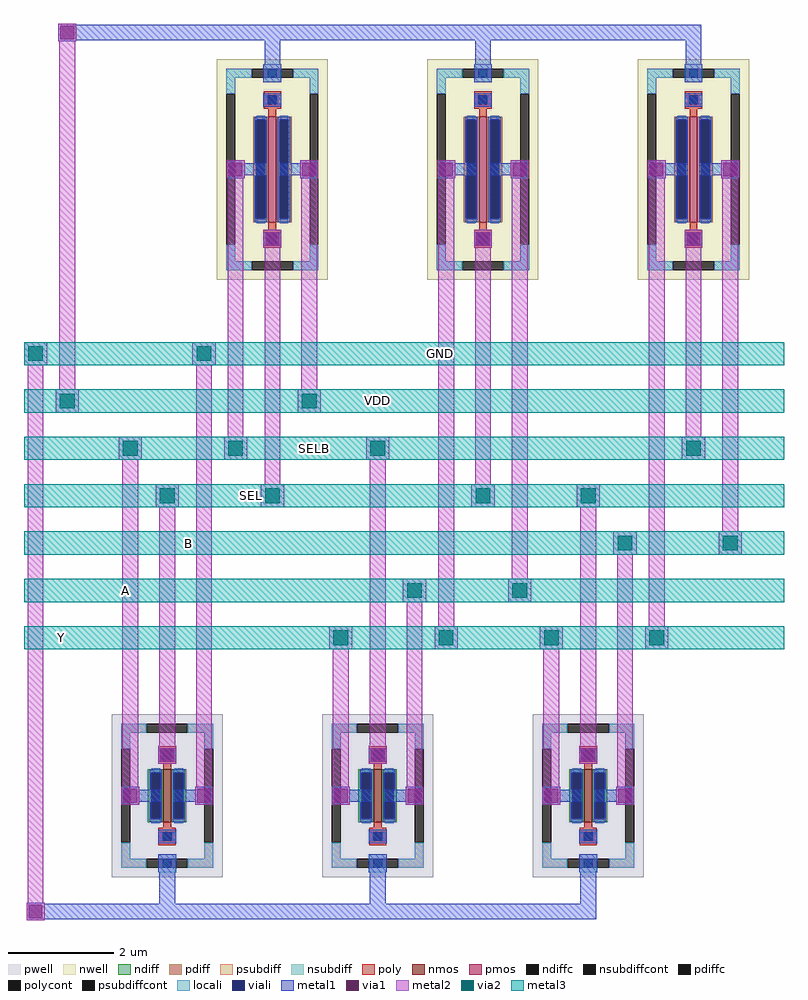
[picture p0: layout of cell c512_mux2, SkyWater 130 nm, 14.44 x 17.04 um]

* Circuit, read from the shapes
.subckt c512_mux2 Y A B SEL SELB VDD GND
XM1 GND SEL SELB GND sky130_fd_pr__nfet_01v8 w=1 l=0.15
XM2 A SELB Y GND sky130_fd_pr__nfet_01v8 w=1 l=0.15
XM3 B SEL Y GND sky130_fd_pr__nfet_01v8 w=1 l=0.15
XM4 VDD SEL SELB VDD sky130_fd_pr__pfet_01v8 w=2 l=0.15
XM5 A SEL Y VDD sky130_fd_pr__pfet_01v8 w=2 l=0.15
XM6 B SELB Y VDD sky130_fd_pr__pfet_01v8 w=2 l=0.15
.ends

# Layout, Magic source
magic
tech sky130A
magscale 1 2
<< pwell >>
rect 389 -310 811 310
rect 1189 -310 1611 310
rect 1989 -310 2411 310
<< nmos >>
rect 585 -100 615 100
rect 1385 -100 1415 100
rect 2185 -100 2215 100
<< ndiff >>
rect 527 88 585 100
rect 527 -88 539 88
rect 573 -88 585 88
rect 527 -100 585 -88
rect 615 88 673 100
rect 615 -88 627 88
rect 661 -88 673 88
rect 615 -100 673 -88
rect 1327 88 1385 100
rect 1327 -88 1339 88
rect 1373 -88 1385 88
rect 1327 -100 1385 -88
rect 1415 88 1473 100
rect 1415 -88 1427 88
rect 1461 -88 1473 88
rect 1415 -100 1473 -88
rect 2127 88 2185 100
rect 2127 -88 2139 88
rect 2173 -88 2185 88
rect 2127 -100 2185 -88
rect 2215 88 2273 100
rect 2215 -88 2227 88
rect 2261 -88 2273 88
rect 2215 -100 2273 -88
<< ndiffc >>
rect 539 -88 573 88
rect 627 -88 661 88
rect 1339 -88 1373 88
rect 1427 -88 1461 88
rect 2139 -88 2173 88
rect 2227 -88 2261 88
<< psubdiff >>
rect 425 240 521 274
rect 679 240 775 274
rect 425 178 459 240
rect 741 178 775 240
rect 425 -240 459 -178
rect 741 -240 775 -178
rect 425 -274 521 -240
rect 679 -274 775 -240
rect 1225 240 1321 274
rect 1479 240 1575 274
rect 1225 178 1259 240
rect 1541 178 1575 240
rect 1225 -240 1259 -178
rect 1541 -240 1575 -178
rect 1225 -274 1321 -240
rect 1479 -274 1575 -240
rect 2025 240 2121 274
rect 2279 240 2375 274
rect 2025 178 2059 240
rect 2341 178 2375 240
rect 2025 -240 2059 -178
rect 2341 -240 2375 -178
rect 2025 -274 2121 -240
rect 2279 -274 2375 -240
<< psubdiffcont >>
rect 521 240 679 274
rect 425 -178 459 178
rect 741 -178 775 178
rect 521 -274 679 -240
rect 1321 240 1479 274
rect 1225 -178 1259 178
rect 1541 -178 1575 178
rect 1321 -274 1479 -240
rect 2121 240 2279 274
rect 2025 -178 2059 178
rect 2341 -178 2375 178
rect 2121 -274 2279 -240
<< poly >>
rect 567 172 633 188
rect 567 138 583 172
rect 617 138 633 172
rect 567 122 633 138
rect 585 100 615 122
rect 585 -122 615 -100
rect 567 -138 633 -122
rect 567 -172 583 -138
rect 617 -172 633 -138
rect 567 -188 633 -172
rect 967 2661 1033 2677
rect 967 2627 983 2661
rect 1017 2627 1033 2661
rect 967 2611 1033 2627
rect 985 2580 1015 2611
rect 985 2149 1015 2180
rect 967 2133 1033 2149
rect 967 2099 983 2133
rect 1017 2099 1033 2133
rect 967 2083 1033 2099
rect 1367 172 1433 188
rect 1367 138 1383 172
rect 1417 138 1433 172
rect 1367 122 1433 138
rect 1385 100 1415 122
rect 1385 -122 1415 -100
rect 1367 -138 1433 -122
rect 1367 -172 1383 -138
rect 1417 -172 1433 -138
rect 1367 -188 1433 -172
rect 1767 2661 1833 2677
rect 1767 2627 1783 2661
rect 1817 2627 1833 2661
rect 1767 2611 1833 2627
rect 1785 2580 1815 2611
rect 1785 2149 1815 2180
rect 1767 2133 1833 2149
rect 1767 2099 1783 2133
rect 1817 2099 1833 2133
rect 1767 2083 1833 2099
rect 2167 172 2233 188
rect 2167 138 2183 172
rect 2217 138 2233 172
rect 2167 122 2233 138
rect 2185 100 2215 122
rect 2185 -122 2215 -100
rect 2167 -138 2233 -122
rect 2167 -172 2183 -138
rect 2217 -172 2233 -138
rect 2167 -188 2233 -172
rect 2567 2661 2633 2677
rect 2567 2627 2583 2661
rect 2617 2627 2633 2661
rect 2567 2611 2633 2627
rect 2585 2580 2615 2611
rect 2585 2149 2615 2180
rect 2567 2133 2633 2149
rect 2567 2099 2583 2133
rect 2617 2099 2633 2133
rect 2567 2083 2633 2099
<< polycont >>
rect 583 138 617 172
rect 583 -172 617 -138
rect 983 2627 1017 2661
rect 983 2099 1017 2133
rect 1383 138 1417 172
rect 1383 -172 1417 -138
rect 1783 2627 1817 2661
rect 1783 2099 1817 2133
rect 2183 138 2217 172
rect 2183 -172 2217 -138
rect 2583 2627 2617 2661
rect 2583 2099 2617 2133
<< locali >>
rect 425 240 521 274
rect 679 240 775 274
rect 425 178 459 240
rect 741 178 775 240
rect 567 138 583 172
rect 617 138 633 172
rect 539 88 573 104
rect 539 -104 573 -88
rect 627 88 661 104
rect 627 -104 661 -88
rect 567 -172 583 -138
rect 617 -172 633 -138
rect 425 -240 459 -178
rect 741 -240 775 -178
rect 425 -274 521 -240
rect 679 -274 775 -240
rect 566 -291 634 -223
rect 825 2729 921 2763
rect 1079 2729 1175 2763
rect 825 2667 859 2729
rect 1141 2667 1175 2729
rect 967 2627 983 2661
rect 1017 2627 1033 2661
rect 939 2568 973 2584
rect 939 2176 973 2192
rect 1027 2568 1061 2584
rect 1027 2176 1061 2192
rect 967 2099 983 2133
rect 1017 2099 1033 2133
rect 825 2031 859 2093
rect 1141 2031 1175 2093
rect 825 1997 921 2031
rect 1079 1997 1175 2031
rect 966 2712 1034 2780
rect 1225 240 1321 274
rect 1479 240 1575 274
rect 1225 178 1259 240
rect 1541 178 1575 240
rect 1367 138 1383 172
rect 1417 138 1433 172
rect 1339 88 1373 104
rect 1339 -104 1373 -88
rect 1427 88 1461 104
rect 1427 -104 1461 -88
rect 1367 -172 1383 -138
rect 1417 -172 1433 -138
rect 1225 -240 1259 -178
rect 1541 -240 1575 -178
rect 1225 -274 1321 -240
rect 1479 -274 1575 -240
rect 1366 -291 1434 -223
rect 1625 2729 1721 2763
rect 1879 2729 1975 2763
rect 1625 2667 1659 2729
rect 1941 2667 1975 2729
rect 1767 2627 1783 2661
rect 1817 2627 1833 2661
rect 1739 2568 1773 2584
rect 1739 2176 1773 2192
rect 1827 2568 1861 2584
rect 1827 2176 1861 2192
rect 1767 2099 1783 2133
rect 1817 2099 1833 2133
rect 1625 2031 1659 2093
rect 1941 2031 1975 2093
rect 1625 1997 1721 2031
rect 1879 1997 1975 2031
rect 1766 2712 1834 2780
rect 2025 240 2121 274
rect 2279 240 2375 274
rect 2025 178 2059 240
rect 2341 178 2375 240
rect 2167 138 2183 172
rect 2217 138 2233 172
rect 2139 88 2173 104
rect 2139 -104 2173 -88
rect 2227 88 2261 104
rect 2227 -104 2261 -88
rect 2167 -172 2183 -138
rect 2217 -172 2233 -138
rect 2025 -240 2059 -178
rect 2341 -240 2375 -178
rect 2025 -274 2121 -240
rect 2279 -274 2375 -240
rect 2166 -291 2234 -223
rect 2425 2729 2521 2763
rect 2679 2729 2775 2763
rect 2425 2667 2459 2729
rect 2741 2667 2775 2729
rect 2567 2627 2583 2661
rect 2617 2627 2633 2661
rect 2539 2568 2573 2584
rect 2539 2176 2573 2192
rect 2627 2568 2661 2584
rect 2627 2176 2661 2192
rect 2567 2099 2583 2133
rect 2617 2099 2633 2133
rect 2425 2031 2459 2093
rect 2741 2031 2775 2093
rect 2425 1997 2521 2031
rect 2679 1997 2775 2031
rect 2566 2712 2634 2780
<< viali >>
rect 583 138 617 172
rect 539 -88 573 88
rect 627 -88 661 88
rect 583 -172 617 -138
rect 583 -274 617 -240
rect 983 2627 1017 2661
rect 939 2192 973 2568
rect 1027 2192 1061 2568
rect 983 2099 1017 2133
rect 983 2729 1017 2763
rect 1383 138 1417 172
rect 1339 -88 1373 88
rect 1427 -88 1461 88
rect 1383 -172 1417 -138
rect 1383 -274 1417 -240
rect 1783 2627 1817 2661
rect 1739 2192 1773 2568
rect 1827 2192 1861 2568
rect 1783 2099 1817 2133
rect 1783 2729 1817 2763
rect 2183 138 2217 172
rect 2139 -88 2173 88
rect 2227 -88 2261 88
rect 2183 -172 2217 -138
rect 2183 -274 2217 -240
rect 2583 2627 2617 2661
rect 2539 2192 2573 2568
rect 2627 2192 2661 2568
rect 2583 2099 2617 2133
rect 2583 2729 2617 2763
<< metal1 >>
rect 571 172 629 178
rect 571 138 583 172
rect 617 138 629 172
rect 571 132 629 138
rect 533 88 579 100
rect 533 -88 539 88
rect 573 -88 579 88
rect 533 -100 579 -88
rect 621 88 667 100
rect 621 -88 627 88
rect 661 -88 667 88
rect 621 -100 667 -88
rect 571 -138 629 -132
rect 571 -172 583 -138
rect 617 -172 629 -138
rect 571 -178 629 -172
rect 566 -181 634 -129
rect 566 129 634 181
rect 437 -23 579 23
rect 426 -34 494 34
rect 621 -23 763 23
rect 706 -34 774 34
rect 566 129 634 181
rect 566 -291 634 -223
rect 570 -470 630 -227
rect 971 2661 1029 2667
rect 971 2627 983 2661
rect 1017 2627 1029 2661
rect 971 2621 1029 2627
rect 933 2568 979 2580
rect 933 2192 939 2568
rect 973 2192 979 2568
rect 933 2180 979 2192
rect 1021 2568 1067 2580
rect 1021 2192 1027 2568
rect 1061 2192 1067 2568
rect 1021 2180 1067 2192
rect 971 2133 1029 2139
rect 971 2099 983 2133
rect 1017 2099 1029 2133
rect 971 2093 1029 2099
rect 966 2090 1034 2142
rect 966 2618 1034 2670
rect 837 2357 979 2403
rect 826 2346 894 2414
rect 1021 2357 1163 2403
rect 1106 2346 1174 2414
rect 966 2090 1034 2142
rect 966 2712 1034 2780
rect 970 2716 1030 2930
rect 1371 172 1429 178
rect 1371 138 1383 172
rect 1417 138 1429 172
rect 1371 132 1429 138
rect 1333 88 1379 100
rect 1333 -88 1339 88
rect 1373 -88 1379 88
rect 1333 -100 1379 -88
rect 1421 88 1467 100
rect 1421 -88 1427 88
rect 1461 -88 1467 88
rect 1421 -100 1467 -88
rect 1371 -138 1429 -132
rect 1371 -172 1383 -138
rect 1417 -172 1429 -138
rect 1371 -178 1429 -172
rect 1366 -181 1434 -129
rect 1366 129 1434 181
rect 1237 -23 1379 23
rect 1226 -34 1294 34
rect 1421 -23 1563 23
rect 1506 -34 1574 34
rect 1366 129 1434 181
rect 1366 -291 1434 -223
rect 1370 -470 1430 -227
rect 1771 2661 1829 2667
rect 1771 2627 1783 2661
rect 1817 2627 1829 2661
rect 1771 2621 1829 2627
rect 1733 2568 1779 2580
rect 1733 2192 1739 2568
rect 1773 2192 1779 2568
rect 1733 2180 1779 2192
rect 1821 2568 1867 2580
rect 1821 2192 1827 2568
rect 1861 2192 1867 2568
rect 1821 2180 1867 2192
rect 1771 2133 1829 2139
rect 1771 2099 1783 2133
rect 1817 2099 1829 2133
rect 1771 2093 1829 2099
rect 1766 2090 1834 2142
rect 1766 2618 1834 2670
rect 1637 2357 1779 2403
rect 1626 2346 1694 2414
rect 1821 2357 1963 2403
rect 1906 2346 1974 2414
rect 1766 2090 1834 2142
rect 1766 2712 1834 2780
rect 1770 2716 1830 2930
rect 2171 172 2229 178
rect 2171 138 2183 172
rect 2217 138 2229 172
rect 2171 132 2229 138
rect 2133 88 2179 100
rect 2133 -88 2139 88
rect 2173 -88 2179 88
rect 2133 -100 2179 -88
rect 2221 88 2267 100
rect 2221 -88 2227 88
rect 2261 -88 2267 88
rect 2221 -100 2267 -88
rect 2171 -138 2229 -132
rect 2171 -172 2183 -138
rect 2217 -172 2229 -138
rect 2171 -178 2229 -172
rect 2166 -181 2234 -129
rect 2166 129 2234 181
rect 2037 -23 2179 23
rect 2026 -34 2094 34
rect 2221 -23 2363 23
rect 2306 -34 2374 34
rect 2166 129 2234 181
rect 2166 -291 2234 -223
rect 2170 -470 2230 -227
rect 2571 2661 2629 2667
rect 2571 2627 2583 2661
rect 2617 2627 2629 2661
rect 2571 2621 2629 2627
rect 2533 2568 2579 2580
rect 2533 2192 2539 2568
rect 2573 2192 2579 2568
rect 2533 2180 2579 2192
rect 2621 2568 2667 2580
rect 2621 2192 2627 2568
rect 2661 2192 2667 2568
rect 2621 2180 2667 2192
rect 2571 2133 2629 2139
rect 2571 2099 2583 2133
rect 2617 2099 2629 2133
rect 2571 2093 2629 2099
rect 2566 2090 2634 2142
rect 2566 2618 2634 2670
rect 2437 2357 2579 2403
rect 2426 2346 2494 2414
rect 2621 2357 2763 2403
rect 2706 2346 2774 2414
rect 2566 2090 2634 2142
rect 2566 2712 2634 2780
rect 2570 2716 2630 2930
rect 70 -470 2230 -410
rect 66 -474 134 -406
rect 190 2870 2630 2930
rect 186 2866 254 2934
<< via1 >>
rect 434 -26 486 26
rect 714 -26 766 26
rect 574 129 626 181
rect 834 2354 886 2406
rect 1114 2354 1166 2406
rect 974 2090 1026 2142
rect 1234 -26 1286 26
rect 1514 -26 1566 26
rect 1374 129 1426 181
rect 1634 2354 1686 2406
rect 1914 2354 1966 2406
rect 1774 2090 1826 2142
rect 2034 -26 2086 26
rect 2314 -26 2366 26
rect 2174 129 2226 181
rect 2434 2354 2486 2406
rect 2714 2354 2766 2406
rect 2574 2090 2626 2142
rect 74 -466 126 -414
rect 194 2874 246 2926
<< metal2 >>
rect 426 -34 494 34
rect 706 -34 774 34
rect 566 121 634 189
rect 826 2346 894 2414
rect 1106 2346 1174 2414
rect 966 2082 1034 2150
rect 1226 -34 1294 34
rect 1506 -34 1574 34
rect 1366 121 1434 189
rect 1626 2346 1694 2414
rect 1906 2346 1974 2414
rect 1766 2082 1834 2150
rect 2026 -34 2094 34
rect 2306 -34 2374 34
rect 2166 121 2234 189
rect 2426 2346 2494 2414
rect 2706 2346 2774 2414
rect 2566 2082 2634 2150
rect 66 -474 134 -406
rect 186 2866 254 2934
rect 430 -30 490 1350
rect 416 1276 504 1364
rect 830 1290 890 2410
rect 816 1276 904 1364
rect 1370 125 1430 1350
rect 1356 1276 1444 1364
rect 2570 1290 2630 2146
rect 2556 1276 2644 1364
rect 710 -30 770 1710
rect 696 1636 784 1724
rect 70 -470 130 1710
rect 56 1636 144 1724
rect 570 125 630 1170
rect 556 1096 644 1184
rect 970 1110 1030 2146
rect 956 1096 1044 1184
rect 1770 1110 1830 2146
rect 1756 1096 1844 1184
rect 2170 125 2230 1170
rect 2156 1096 2244 1184
rect 1110 1470 1170 2410
rect 1096 1456 1184 1544
rect 190 1470 250 2930
rect 176 1456 264 1544
rect 1230 -30 1290 630
rect 1216 556 1304 644
rect 1630 570 1690 2410
rect 1616 556 1704 644
rect 2030 -30 2090 630
rect 2016 556 2104 644
rect 2430 570 2490 2410
rect 2416 556 2504 644
rect 1510 -30 1570 810
rect 1496 736 1584 824
rect 1910 750 1970 2410
rect 1896 736 1984 824
rect 2310 -30 2370 990
rect 2296 916 2384 1004
rect 2710 930 2770 2410
rect 2696 916 2784 1004
<< nwell >>
rect 789 1961 1211 2799
rect 1589 1961 2011 2799
rect 2389 1961 2811 2799
<< pmos >>
rect 985 2180 1015 2580
rect 1785 2180 1815 2580
rect 2585 2180 2615 2580
<< pdiff >>
rect 927 2568 985 2580
rect 927 2192 939 2568
rect 973 2192 985 2568
rect 927 2180 985 2192
rect 1015 2568 1073 2580
rect 1015 2192 1027 2568
rect 1061 2192 1073 2568
rect 1015 2180 1073 2192
rect 1727 2568 1785 2580
rect 1727 2192 1739 2568
rect 1773 2192 1785 2568
rect 1727 2180 1785 2192
rect 1815 2568 1873 2580
rect 1815 2192 1827 2568
rect 1861 2192 1873 2568
rect 1815 2180 1873 2192
rect 2527 2568 2585 2580
rect 2527 2192 2539 2568
rect 2573 2192 2585 2568
rect 2527 2180 2585 2192
rect 2615 2568 2673 2580
rect 2615 2192 2627 2568
rect 2661 2192 2673 2568
rect 2615 2180 2673 2192
<< pdiffc >>
rect 939 2192 973 2568
rect 1027 2192 1061 2568
rect 1739 2192 1773 2568
rect 1827 2192 1861 2568
rect 2539 2192 2573 2568
rect 2627 2192 2661 2568
<< nsubdiff >>
rect 825 2729 921 2763
rect 1079 2729 1175 2763
rect 825 2667 859 2729
rect 1141 2667 1175 2729
rect 825 2031 859 2093
rect 1141 2031 1175 2093
rect 825 1997 921 2031
rect 1079 1997 1175 2031
rect 1625 2729 1721 2763
rect 1879 2729 1975 2763
rect 1625 2667 1659 2729
rect 1941 2667 1975 2729
rect 1625 2031 1659 2093
rect 1941 2031 1975 2093
rect 1625 1997 1721 2031
rect 1879 1997 1975 2031
rect 2425 2729 2521 2763
rect 2679 2729 2775 2763
rect 2425 2667 2459 2729
rect 2741 2667 2775 2729
rect 2425 2031 2459 2093
rect 2741 2031 2775 2093
rect 2425 1997 2521 2031
rect 2679 1997 2775 2031
<< nsubdiffcont >>
rect 921 2729 1079 2763
rect 825 2093 859 2667
rect 1141 2093 1175 2667
rect 921 1997 1079 2031
rect 1721 2729 1879 2763
rect 1625 2093 1659 2667
rect 1941 2093 1975 2667
rect 1721 1997 1879 2031
rect 2521 2729 2679 2763
rect 2425 2093 2459 2667
rect 2741 2093 2775 2667
rect 2521 1997 2679 2031
<< metal3 >>
rect 56 1276 2944 1364
rect 416 1276 504 1364
rect 816 1276 904 1364
rect 1356 1276 1444 1364
rect 2556 1276 2644 1364
rect 56 1636 2944 1724
rect 696 1636 784 1724
rect 56 1636 144 1724
rect 56 1096 2944 1184
rect 556 1096 644 1184
rect 956 1096 1044 1184
rect 1756 1096 1844 1184
rect 2156 1096 2244 1184
rect 56 1456 2944 1544
rect 1096 1456 1184 1544
rect 176 1456 264 1544
rect 56 556 2944 644
rect 1216 556 1304 644
rect 1616 556 1704 644
rect 2016 556 2104 644
rect 2416 556 2504 644
rect 56 736 2944 824
rect 1496 736 1584 824
rect 1896 736 1984 824
rect 56 916 2944 1004
rect 2296 916 2384 1004
rect 2696 916 2784 1004
<< via2 >>
rect 432 1292 488 1348
rect 832 1292 888 1348
rect 1372 1292 1428 1348
rect 2572 1292 2628 1348
rect 712 1652 768 1708
rect 72 1652 128 1708
rect 572 1112 628 1168
rect 972 1112 1028 1168
rect 1772 1112 1828 1168
rect 2172 1112 2228 1168
rect 1112 1472 1168 1528
rect 192 1472 248 1528
rect 1232 572 1288 628
rect 1632 572 1688 628
rect 2032 572 2088 628
rect 2432 572 2488 628
rect 1512 752 1568 808
rect 1912 752 1968 808
rect 2312 932 2368 988
rect 2712 932 2768 988
<< labels >>
rlabel metal3 1160 1320 1160 1320 0 SELB
port 5 nsew signal bidirectional
rlabel metal3 1640 1680 1640 1680 0 GND
port 7 nsew signal bidirectional
rlabel metal3 920 1140 920 1140 0 SEL
port 4 nsew signal bidirectional
rlabel metal3 1400 1500 1400 1500 0 VDD
port 6 nsew signal bidirectional
rlabel metal3 200 600 200 600 0 Y
port 1 nsew signal bidirectional
rlabel metal3 440 780 440 780 0 A
port 2 nsew signal bidirectional
rlabel metal3 680 960 680 960 0 B
port 3 nsew signal bidirectional
<< end >>
